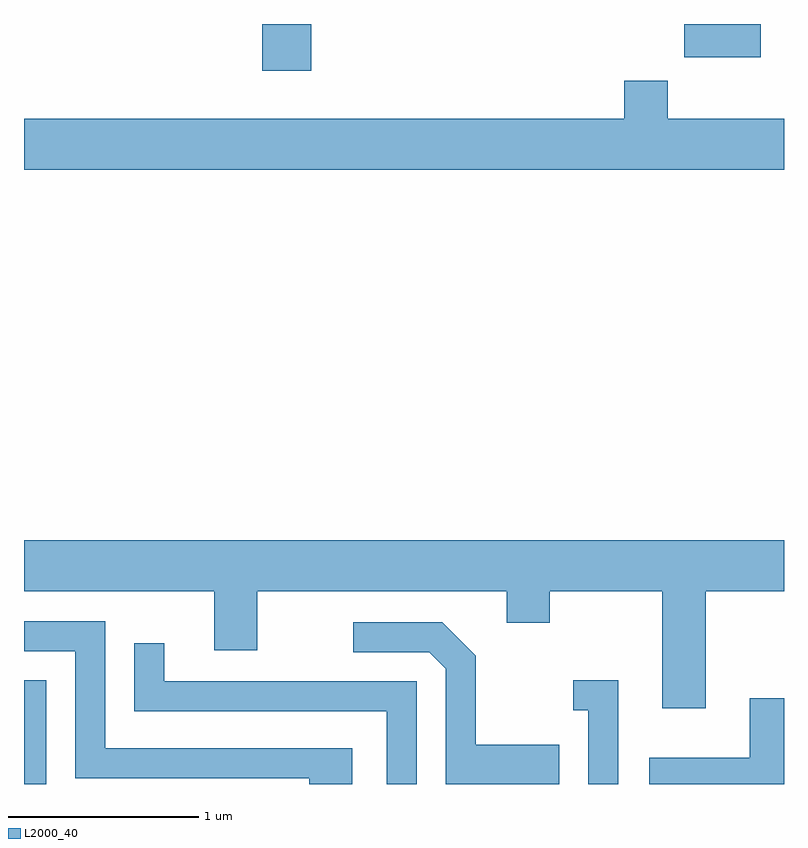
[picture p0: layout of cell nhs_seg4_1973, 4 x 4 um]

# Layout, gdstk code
import gdstk
lib = gdstk.Library(unit=1e-6, precision=1e-09)
def R(c, l, rs):  # rectangles x0, y0, x1, y1
    for r in rs: c.add(gdstk.rectangle(r[:2], r[2:], *l))
def P(c, l, *ps):  # polygons
    for p in ps: c.add(gdstk.Polygon(p, *l))
L2000_40 = (2000, 40)

nhs_seg4_1973 = lib.new_cell('nhs_seg4_1973')
R(nhs_seg4_1973, L2000_40, [(243.611,1255.982,243.729,1256.529), (244.866,1259.736,245.124,1259.982), (247.086,1259.806,247.489,1259.982)])
P(nhs_seg4_1973, L2000_40, [(247.611,1259.484),(246.999,1259.484),(246.999,1259.684),(246.771,1259.684),(246.771,1259.484),(243.611,1259.484),(243.611,1259.216),(247.611,1259.216)],
  [(243.611,1256.996),(244.611,1256.996),(244.611,1256.686),(244.839,1256.686),(244.839,1256.996),(246.151,1256.996),(246.151,1256.831),(246.379,1256.831),(246.379,1256.996),(246.971,1256.996),(246.971,1256.381),(247.199,1256.381),(247.199,1256.996),(247.611,1256.996),(247.611,1257.264),(243.611,1257.264)],
  [(245.339,1256.169),(244.039,1256.169),(244.039,1256.839),(243.611,1256.839),(243.611,1256.681),(243.881,1256.681),(243.881,1256.011),(245.111,1256.011),(245.111,1255.982),(245.339,1255.982)],
  [(246.429,1256.189),(245.989,1256.189),(245.989,1256.657),(245.812,1256.834),(245.343,1256.834),(245.343,1256.676),(245.744,1256.676),(245.831,1256.589),(245.831,1255.982),(246.429,1255.982)],
  [(245.679,1256.524),(244.349,1256.524),(244.349,1256.723),(244.191,1256.723),(244.191,1256.366),(245.521,1256.366),(245.521,1255.982),(245.679,1255.982)],
  [(246.739,1256.529),(246.503,1256.529),(246.503,1256.371),(246.581,1256.371),(246.581,1255.982),(246.739,1255.982)],
  [(247.611,1256.434),(247.431,1256.434),(247.431,1256.119),(246.901,1256.119),(246.901,1255.982),(247.611,1255.982)])

lib.write_gds('nhs_seg4_1973.gds')
